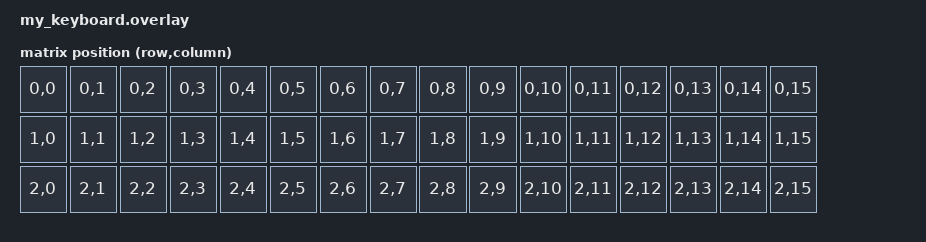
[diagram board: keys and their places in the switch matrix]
#include <dt-bindings/zmk/matrix_transform.h>

/ {
    chosen {
        zmk,kscan = &kscan0;
        zmk,matrix_transform = &default_transform;
        zmk,underglow = &led_strip;
    };

    /* Define your 48-key matrix (3 mux * 16 channels) */
    default_transform: keymap_transform_0 {
        compatible = "zmk,matrix-transform";
        columns = <16>;
        rows = <3>;
        // The 'map' tells ZMK how the electrical matrix (Rows/Columns) relates to the physical layout of your keys.
        // RC(Row, Column): The first number is the Mux ID (0, 1, or 2). The second is the Channel ID (0-15).
        map = <
            /* Mux 1: Channels 0 to 15 */
            RC(0,0) RC(0,1) RC(0,2) RC(0,3) RC(0,4) RC(0,5) RC(0,6) RC(0,7) RC(0,8) RC(0,9) RC(0,10) RC(0,11) RC(0,12) RC(0,13) RC(0,14) RC(0,15)
            /* Mux 2: Channels 0 to 15 */
            RC(1,0) RC(1,1) RC(1,2) RC(1,3) RC(1,4) RC(1,5) RC(1,6) RC(1,7) RC(1,8) RC(1,9) RC(1,10) RC(1,11) RC(1,12) RC(1,13) RC(1,14) RC(1,15)
            /* Mux 3: Channels 0 to 15 */
            RC(2,0) RC(2,1) RC(2,2) RC(2,3) RC(2,4) RC(2,5) RC(2,6) RC(2,7) RC(2,8) RC(2,9) RC(2,10) RC(2,11) RC(2,12) RC(2,13) RC(2,14) RC(2,15)
        >;

	// Note: If you don't use the full 48 keys of the matrix, you can:
        // 1. The "Dummy Key" Method
        // You keep the map and bindings at the full size (48 entries), but for the channels where no sensor is connected, you use the &none code.
	// bindings = < &kp ESC &kp N1 &none &kp N2 ... >; // The 3rd key slot is empty 
        // Why? It keeps your code aligned with your physical wiring. If you soldered a sensor to Channel 5 of Mux 2, it will always be RC(1,5).
	//
	// 2. The Compressed Map Method
        // If you want to save a tiny bit of processing power, you can remove the unused entries from the map entirely. ZMK will only scan the channels explicitly listed.
	// map = <RC(0,0) RC(0,1) RC(0,15)>;    /* Only 3 keys mapped for Row 0 */
	// bindings = <&kp ESC &kp N1 &kp BSPC>;    /* Only 3 bindings needed */
	//
	// An empty analog pin can pick up electrical noise and might "jitter," potentially sending accidental keypresses to your PC.
	// Solution: If you aren't using a specific channel on a Multiplexer, either:
        // Remove it from the map (as shown in Method 2 above).
        // Physically tie that unused Multiplexer input pin to GND. This ensures the ADC reads a solid 0V and never triggers.
    };

    kscan0: kscan_he {
        compatible = "he,kscan-multiplexer";
        label = "KSCAN_HE";

        /* Map your Mux Select pins here */
        select-gpios = <&pro_micro 4 GPIO_ACTIVE_HIGH>, 
                       <&pro_micro 5 GPIO_ACTIVE_HIGH>, 
                       <&pro_micro 6 GPIO_ACTIVE_HIGH>, 
                       <&pro_micro 7 GPIO_ACTIVE_HIGH>;
        
        /* Map your 3 Mux Output pins to ADC channels */
        /* Note: Check your board pinout for which GPIOs map to which ADC channels */
        adc-channels = <&adc 6>, <&adc 5>, <&adc 0>; 
        channel-count = <16>;

	// ZMK Studio was designed to handle keymap changes (swapping "A" for "B"). While there is work being done to support "Analog Properties" in the Studio GUI, it is not yet a standard feature.
	// The Serial Console (Runtime): This is the most powerful method. You can send commands to "Begin Calibration," press your keys, and save the resulting values to the chip's NVS (Non-Volatile Storage). Once saved to NVS, they persist even if you unplug the keyboard.
	// v-min and v-max (Hardcoded Defaults): These are "fail-safe" values. If the keyboard has never been calibrated or if you wipe the memory, it falls back to these numbers.
        /* Voltage in millivolts (mV) */
        /* Based on your measurements: 1730mV to 2400mV */
        v-min = <1730>; 
        v-max = <2400>;
        
        adc-resolution = <12>;     // Use full 12-bit depth of nRF52840

	// Polling rate in microseconds (compile-time setting - cannot be changed at runtime)
        sample-period-us = <1000>; // 1ms sampling

	// Multiplexer Overhead: The nRF52840 is very fast. Switching a multiplexer channel takes nanoseconds, and the ADC "acquisition time" is typically set to roughly 10–20 microseconds per sample.
	// Total time to scan 16 channels: $16 \times 20\mu s = 320\mu s$.
	// Since you have 3 multiplexers connected to 3 different ADC pins, the nRF52840 can actually sample them nearly simultaneously or in very rapid succession.
	// Result: Scanning 48 keys takes significantly less than 1ms, so a 1000us period is very comfortable for this MCU.

	// The "Maximum" depends on the limits of the nRF52840's hardware:
        // The ADC Limit: The SAADC can technically sample at up to 200 kHz (5 microseconds per sample).
        // The Practical Limit: If you set sample-period-us too low (e.g., <100>), the MCU will spend 100% of its time reading sensors and won't have "breathing room" to handle Bluetooth stacks or RGB LED animations.
        // The USB Limit: Most PCs poll USB keyboards at 1000Hz (1ms). Setting your internal sampling faster than 1ms (e.g., 0.5ms) provides "sub-millisecond" accuracy for Rapid Trigger logic, but the PC will still only receive the update every 1ms.

	// Recommended Settings
        // For a high-performance Hall Effect build:
        // Sample Period: 1000 (1ms) is the "Gold Standard." It matches the USB polling rate and is easy on the battery.
        // Aggressive Gaming: You can try 500 (0.5ms), but keep an eye on your RGB LEDs; if they start flickering, it means the ADC is "stealing" too much processing time.
    };
};

/* RGB Strip Configuration on Pin 3 (example) */
// Note that the output voltage of the pin is 3.3V, while the WS2812B expects at leaste 0.7 * VCC = 3.5V at 5V supply.
// One solution: Use a level shifter.
// "Sacrificial Diode" Hack: avoid a bulky level shifter chip by using a simple 1N4148 diode. By placing a diode in series with the power line of the first LED only, you drop its voltage to about 4.3V. This lowers its data threshold to ~3V, which your 3.3V MCU can hit. The first LED then "boosts" the signal to a full 5V for the rest of the strip.
&spi3 {
    compatible = "nordic,nrf-spim";
    status = "okay";
    pinctrl-0 = <&spi3_default>;
    pinctrl-names = "default";

    led_strip: ws2812@0 {
        compatible = "worldsemi,ws2812-spi";
        reg = <0>;
        spi-max-frequency = <4000000>;
        chain-length = <10>; 
        spi-one-frame = <0x70>;
        spi-zero-frame = <0x40>;
        color-mapping = <LED_COLOR_ID_GREEN LED_COLOR_ID_RED LED_COLOR_ID_BLUE>;
    };
};


// To make the ADC readings ratiometric, you need to modify the adc node in your Devicetree. By using VDD_1_4 (internal VDD divided by 4) as the reference and setting the gain to GAIN1_4, the ADC measurement becomes a fraction of the supply voltage rather than a fixed voltage.
// This means if your battery or USB voltage fluctuates, the "percentage" reported by the Hall sensor stays the same because the reference moves with the signal.
// Note: for this to work, ensure your SS49E sensors are powered directly from the VCC/3.3V pin of the nRF52840, not a separate regulator, to ensure they share the same reference.
// Tie the GND of the multiplexers and sensors to the GND of the nRF52840 board to prevent ground loops.
&adc {
    status = "okay";
    #address-cells = <1>;
    #size-cells = <0>;

    /* Configure Channel 6 (Pro Micro Pin 21/A3) */
    channel@6 {
        reg = <6>;
        zephyr,gain = "ADC_GAIN_1_4";
        zephyr,reference = "ADC_REF_VDD_1_4";
        zephyr,acquisition-time = <ADC_ACQ_TIME_DEFAULT>;
        zephyr,input-positive = <NRF_SAADC_AIN6>; 
        zephyr,resolution = <12>;
    };

    /* Configure Channel 5 (Pro Micro Pin 20/A2) */
    channel@5 {
        reg = <5>;
        zephyr,gain = "ADC_GAIN_1_4";
        zephyr,reference = "ADC_REF_VDD_1_4";
        zephyr,acquisition-time = <ADC_ACQ_TIME_DEFAULT>;
        zephyr,input-positive = <NRF_SAADC_AIN5>;
        zephyr,resolution = <12>;
    };

    /* Configure Channel 0 (Pro Micro Pin 19/A1) */
    channel@0 {
        reg = <0>;
        zephyr,gain = "ADC_GAIN_1_4";
        zephyr,reference = "ADC_REF_VDD_1_4";
        zephyr,acquisition-time = <ADC_ACQ_TIME_DEFAULT>;
        zephyr,input-positive = <NRF_SAADC_AIN0>;
        zephyr,resolution = <12>;
    };
};
